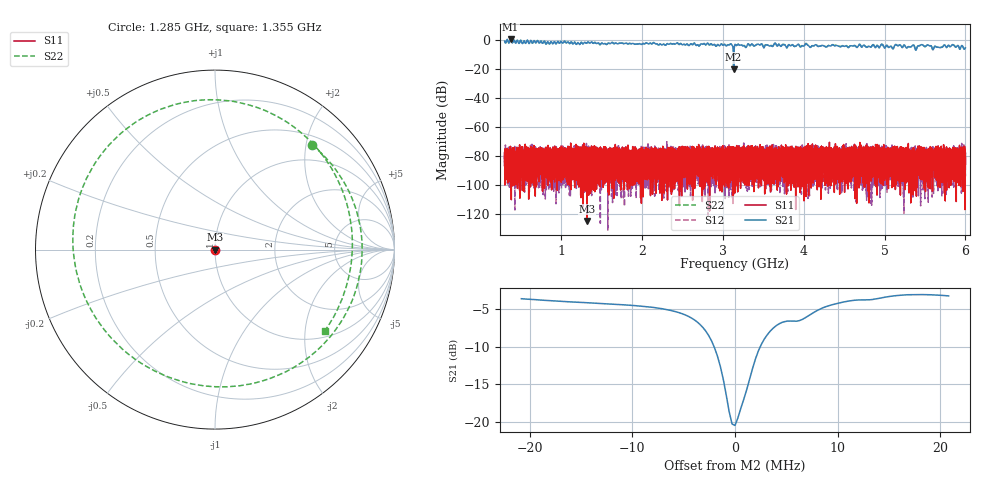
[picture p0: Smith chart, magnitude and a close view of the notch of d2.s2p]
!Agilent Technologies,N5230C,SG49000117,A.08.50.07
!Agilent N5230C: A.08.50.07
!Date: Monday, March 18, 2024 18:47:19
!Correction: S11(Off)
!S21(Off)
!S12(Off)
!S22(Off)
!S2P File: Measurements: S11, S21, S12, S22:
# Hz S  RI  R 50
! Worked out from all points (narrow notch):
!   20001 points, 300 MHz to 6 GHz, reference 50 ohm
!   highest |S21| = 0.42 dB at 373.8 MHz (marker M1); lowest = -20.4 dB at 3.133 GHz (marker M2)
!   notch at M2: 17.0 dB deep, 3.5 MHz wide at half that depth
!   lowest |S11| = -125.0 dB at 1.32 GHz (marker M3), VSWR 1.00, Z = 50 - j5.53e-05 ohm
!   |S11| at or under -10 dB: start of sweep to end of sweep
!   |S22| runs from -20.4 to 0.4 dB; largest |S21 - S12| = 1.1
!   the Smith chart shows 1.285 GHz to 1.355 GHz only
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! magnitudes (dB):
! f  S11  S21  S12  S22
! 300 MHz  -84.2  -0.9  -82.4  -0.9
! 373.8 MHz  -85.7  0.4  -89.7  0.4
! 1.25 GHz  -87.7  -1.8  -82.4  -1.8
! 1.32 GHz  -125.0  -2.1  -84.2  -2.1
! 2.2 GHz  -84.3  -3.5  -80.9  -3.5
! 3.084 GHz  -77.5  -3.4  -85.5  -3.3
! 3.133 GHz  -77.3  -20.4  -81.6  -20.4
! 3.15 GHz  -79.0  -3.1  -91.2  -3.1
! 3.173 GHz  -87.5  -3.8  -85.5  -3.8
! 3.271 GHz  -81.1  -4.4  -80.4  -4.3
! 3.456 GHz  -80.1  -3.6  -99.0  -3.6
! 3.977 GHz  -79.0  -4.2  -84.6  -4.1
! 4.035 GHz  -94.2  -2.9  -87.9  -2.8
! 4.1 GHz  -78.9  -4.3  -79.4  -4.2
! 5.05 GHz  -79.2  -5.3  -88.0  -5.2
! 5.093 GHz  -74.6  -5.5  -72.5  -5.5
! 5.163 GHz  -80.7  -4.1  -75.9  -4.1
! 5.396 GHz  -80.7  -6.4  -83.9  -6.4
! 5.456 GHz  -81.8  -3.4  -84.2  -3.4
! 5.613 GHz  -81.7  -5.3  -81.8  -5.3
! 5.846 GHz  -90.4  -3.4  -90.7  -3.4
! 6 GHz  -81.0  -5.6  -80.0  -5.6
